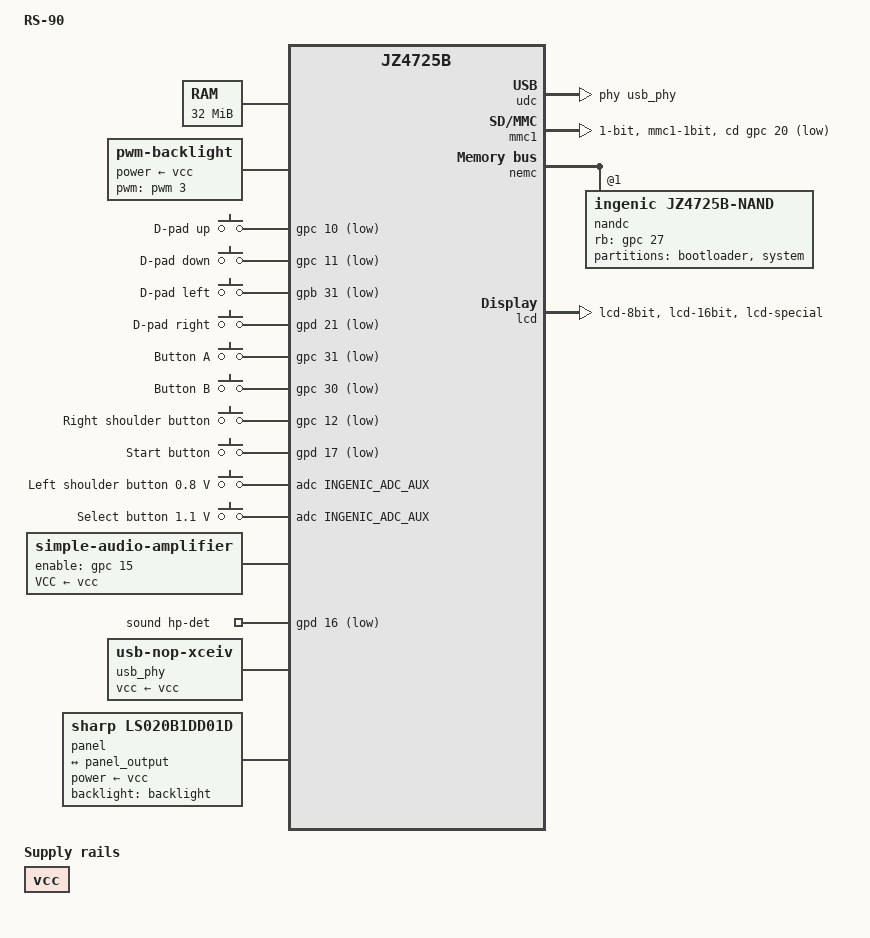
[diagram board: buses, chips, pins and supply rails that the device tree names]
// SPDX-License-Identifier: GPL-2.0
/dts-v1/;

#include "jz4725b.dtsi"

#include <dt-bindings/gpio/gpio.h>
#include <dt-bindings/iio/adc/ingenic,adc.h>
#include <dt-bindings/input/linux-event-codes.h>

/ {
	compatible = "ylm,rs90", "ingenic,jz4725b";
	model = "RS-90";

	memory {
		device_type = "memory";
		reg = <0x0 0x2000000>;
	};

	reserved-memory {
		#address-cells = <1>;
		#size-cells = <1>;
		ranges;

		vmem: video-memory@1f00000 {
			compatible = "shared-dma-pool";
			reg = <0x1f00000 0x100000>;
			reusable;
		};
	};

	vcc: regulator {
		compatible = "regulator-fixed";

		regulator-name = "vcc";
		regulaor-min-microvolt = <3300000>;
		regulaor-max-microvolt = <3300000>;
		regulator-always-on;
	};

	backlight: backlight {
		compatible = "pwm-backlight";
		pwms = <&pwm 3 40000 0>;

		brightness-levels = <0 16 32 48 64 80 112 144 192 255>;
		default-brightness-level = <8>;

		pinctrl-names = "default";
		pinctrl-0 = <&pins_pwm3>;

		power-supply = <&vcc>;
	};

	keys@0 {
		compatible = "gpio-keys";
		#address-cells = <1>;
		#size-cells = <0>;

		key@0 {
			label = "D-pad up";
			linux,code = <KEY_UP>;
			gpios = <&gpc 10 GPIO_ACTIVE_LOW>;
		};

		key@1 {
			label = "D-pad down";
			linux,code = <KEY_DOWN>;
			gpios = <&gpc 11 GPIO_ACTIVE_LOW>;
		};

		key@2 {
			label = "D-pad left";
			linux,code = <KEY_LEFT>;
			gpios = <&gpb 31 GPIO_ACTIVE_LOW>;
		};

		key@3 {
			label = "D-pad right";
			linux,code = <KEY_RIGHT>;
			gpios = <&gpd 21 GPIO_ACTIVE_LOW>;
		};

		key@4 {
			label = "Button A";
			linux,code = <KEY_LEFTCTRL>;
			gpios = <&gpc 31 GPIO_ACTIVE_LOW>;
		};

		key@5 {
			label = "Button B";
			linux,code = <KEY_LEFTALT>;
			gpios = <&gpc 30 GPIO_ACTIVE_LOW>;
		};

		key@6 {
			label = "Right shoulder button";
			linux,code = <KEY_BACKSPACE>;
			gpios = <&gpc 12 GPIO_ACTIVE_LOW>;
			debounce-interval = <10>;
		};

		key@7 {
			label = "Start button";
			linux,code = <KEY_ENTER>;
			gpios = <&gpd 17 GPIO_ACTIVE_LOW>;
		};
	};

	keys@1 {
		compatible = "adc-keys";
		io-channels = <&adc INGENIC_ADC_AUX>;
		io-channel-names = "buttons";
		keyup-threshold-microvolt = <1400000>;
		poll-interval = <30>;

		key@0 {
			label = "Left shoulder button";
			linux,code = <KEY_TAB>;
			press-threshold-microvolt = <800000>;
		};

		key@1 {
			label = "Select button";
			linux,code = <KEY_ESC>;
			press-threshold-microvolt = <1100000>;
		};
	};

	amp: analog-amplifier {
		compatible = "simple-audio-amplifier";
		enable-gpios = <&gpc 15 GPIO_ACTIVE_HIGH>;

		VCC-supply = <&vcc>;
	};

	sound {
		compatible = "simple-audio-card";

		simple-audio-card,name = "rs90-audio";
		simple-audio-card,format = "i2s";

		simple-audio-card,widgets =
			"Speaker", "Speaker",
			"Headphone", "Headphones";
		simple-audio-card,routing =
			"INL", "LHPOUT",
			"INR", "RHPOUT",
			"Headphones", "LHPOUT",
			"Headphones", "RHPOUT",
			"Speaker", "OUTL",
			"Speaker", "OUTR";
		simple-audio-card,pin-switches = "Speaker";

		simple-audio-card,hp-det-gpio = <&gpd 16 GPIO_ACTIVE_LOW>;
		simple-audio-card,aux-devs = <&amp>;

		simple-audio-card,bitclock-master = <&dai_codec>;
		simple-audio-card,frame-master = <&dai_codec>;

		dai_cpu: simple-audio-card,cpu {
			sound-dai = <&aic>;
		};

		dai_codec: simple-audio-card,codec {
			sound-dai = <&codec>;
		};

	};

	usb_phy: usb-phy {
		compatible = "usb-nop-xceiv";
		#phy-cells = <0>;

		clocks = <&cgu JZ4725B_CLK_UDC_PHY>;
		clock-names = "main_clk";
		vcc-supply = <&vcc>;
	};

	panel {
		compatible = "sharp,ls020b1dd01d";

		backlight = <&backlight>;
		power-supply = <&vcc>;

		port {
			panel_input: endpoint {
				remote-endpoint = <&panel_output>;
			};
		};
	};
};

&ext {
	clock-frequency = <12000000>;
};

&rtc_dev {
	system-power-controller;
};

&udc {
	phys = <&usb_phy>;
};

&pinctrl {
	pins_mmc1: mmc1 {
		function = "mmc1";
		groups = "mmc1-1bit";
	};

	pins_nemc: nemc {
		function = "nand";
		groups = "nand-cs1", "nand-cle-ale", "nand-fre-fwe";
	};

	pins_pwm3: pwm3 {
		function = "pwm3";
		groups = "pwm3";
		bias-disable;
	};

	pins_lcd: lcd {
		function = "lcd";
		groups = "lcd-8bit", "lcd-16bit", "lcd-special";
	};
};

&mmc0 {
	status = "disabled";
};

&mmc1 {
	bus-width = <1>;
	max-frequency = <48000000>;

	pinctrl-names = "default";
	pinctrl-0 = <&pins_mmc1>;

	cd-gpios = <&gpc 20 GPIO_ACTIVE_LOW>;
};

&uart {
	/*
	 * The pins for RX/TX are used for the right shoulder button and
	 * backlight PWM.
	 */
	status = "disabled";
};

&nemc {
	nandc: nand-controller@1 {
		compatible = "ingenic,jz4725b-nand";
		reg = <1 0 0x4000000>;

		#address-cells = <1>;
		#size-cells = <0>;

		ecc-engine = <&bch>;

		ingenic,nemc-tAS = <10>;
		ingenic,nemc-tAH = <5>;
		ingenic,nemc-tBP = <10>;
		ingenic,nemc-tAW = <15>;
		ingenic,nemc-tSTRV = <100>;

		pinctrl-names = "default";
		pinctrl-0 = <&pins_nemc>;

		rb-gpios = <&gpc 27 GPIO_ACTIVE_HIGH>;

		nand@1 {
			reg = <1>;

			nand-ecc-step-size = <512>;
			nand-ecc-strength = <8>;
			nand-ecc-mode = "hw";
			nand-is-boot-medium;
			nand-on-flash-bbt;

			partitions {
				compatible = "fixed-partitions";
				#address-cells = <1>;
				#size-cells = <1>;

				partition@0 {
					label = "bootloader";
					reg = <0x0 0x20000>;
				};

				partition@20000 {
					label = "system";
					reg = <0x20000 0x0>;
				};
			};
		};
	};
};

&cgu {
	/* Use 32kHz oscillator as the parent of the RTC clock */
	assigned-clocks = <&cgu JZ4725B_CLK_RTC>;
	assigned-clock-parents = <&cgu JZ4725B_CLK_OSC32K>;
};

&tcu {
	/*
	 * 750 kHz for the system timer and clocksource, and use RTC as the
	 * parent for the watchdog clock.
	 */
	assigned-clocks = <&tcu TCU_CLK_TIMER0>, <&tcu TCU_CLK_TIMER1>, <&tcu TCU_CLK_WDT>;
	assigned-clock-parents = <0>, <0>, <&cgu JZ4725B_CLK_RTC>;
	assigned-clock-rates = <750000>, <750000>;
};

&lcd {
	memory-region = <&vmem>;

	pinctrl-names = "default";
	pinctrl-0 = <&pins_lcd>;
};

&lcd_ports {
	port@0 {
		reg = <0>;

		panel_output: endpoint {
			remote-endpoint = <&panel_input>;
		};
	};
};
